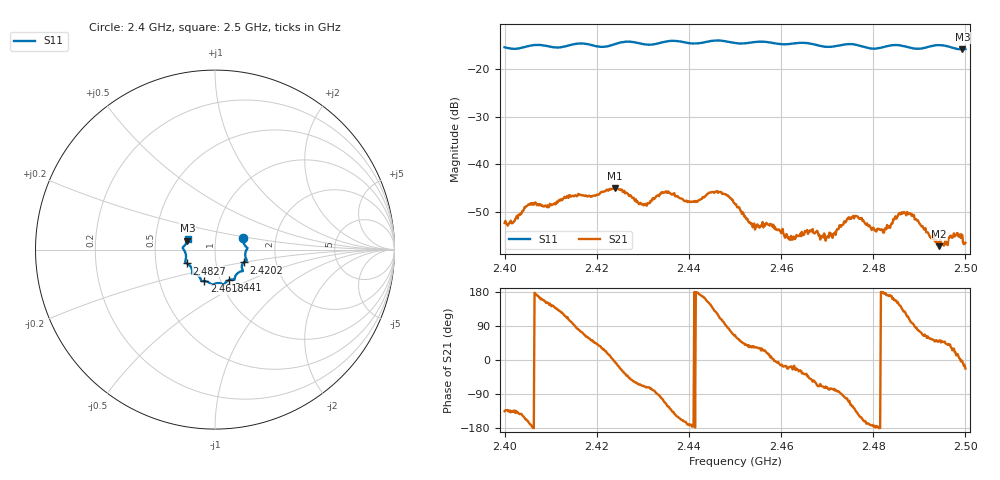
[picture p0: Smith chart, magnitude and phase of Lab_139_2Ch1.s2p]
# Hz S RI R 50
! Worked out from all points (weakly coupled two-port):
!   601 points, 2.4 GHz to 2.5 GHz, reference 50 ohm
!   highest |S21| = -44.95 dB at 2.424 GHz (marker M1); lowest = -57.2 dB at 2.4943 GHz (marker M2)
!   lowest |S11| = -15.8 dB at 2.4993 GHz (marker M3), VSWR 1.39, Z = 36.5 + j3.8 ohm
!   |S11| at or under -10 dB: start of sweep to end of sweep
!   S12 and S22 are empty: the file has one direction only
!   S11 on the Smith chart (normalised r, x): 2.4 GHz: 1.36, +0.18; 2.4202 GHz: 1.36, -0.20; 2.441 GHz: 1.10, -0.39; 2.4618 GHz: 0.84, -0.30; 2.4827 GHz: 0.72, -0.12; 2.5 GHz: 0.73, +0.09
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2.4e9  0.1588 0.0629  -0.00171 -0.00171  0 0  0 0
2.405333e9  0.1763 0.0126  -0.00371 -0.000898  0 0  0 0
2.416667e9  0.1774 -0.0607  0.00129 0.00456  0 0  0 0
2.420167e9  0.1589 -0.0716  0.00364 0.00316  0 0  0 0
2.424e9  0.1511 -0.1067  0.00562 -0.000655  0 0  0 0
2.430333e9  0.1335 -0.126  0.00131 -0.00357  0 0  0 0
2.433333e9  0.1119 -0.1507  -0.000108 -0.00469  0 0  0 0
2.441e9  0.0787 -0.1698  -0.00405 -0.000347  0 0  0 0
2.446333e9  0.0492 -0.1955  -0.00237 0.00442  0 0  0 0
2.45e9  0.0286 -0.1874  0.00157 0.00349  0 0  0 0
2.453833e9  -0.0063 -0.1927  0.00175 0.0013  0 0  0 0
2.457833e9  -0.0243 -0.1896  0.00226 0.000386  0 0  0 0
2.461833e9  -0.0589 -0.1757  0.00161 -0.000536  0 0  0 0
2.466667e9  -0.079 -0.1684  0.0012 -0.00156  0 0  0 0
2.470167e9  -0.0964 -0.143  0.000433 -0.00172  0 0  0 0
2.476167e9  -0.1275 -0.1299  -0.002 -0.00206  0 0  0 0
2.482667e9  -0.1558 -0.0772  -0.0021 0.000123  0 0  0 0
2.483333e9  -0.1603 -0.0751  -0.00213 0.000417  0 0  0 0
2.487833e9  -0.1618 -0.0518  -0.000897 0.00291  0 0  0 0
2.494333e9  -0.1798 0.0105  0.000883 0.00106  0 0  0 0
2.499333e9  -0.154 0.0507  0.00179 -0.000107  0 0  0 0
2.5e9  -0.1522 0.0601  0.00138 -0.000574  0 0  0 0
